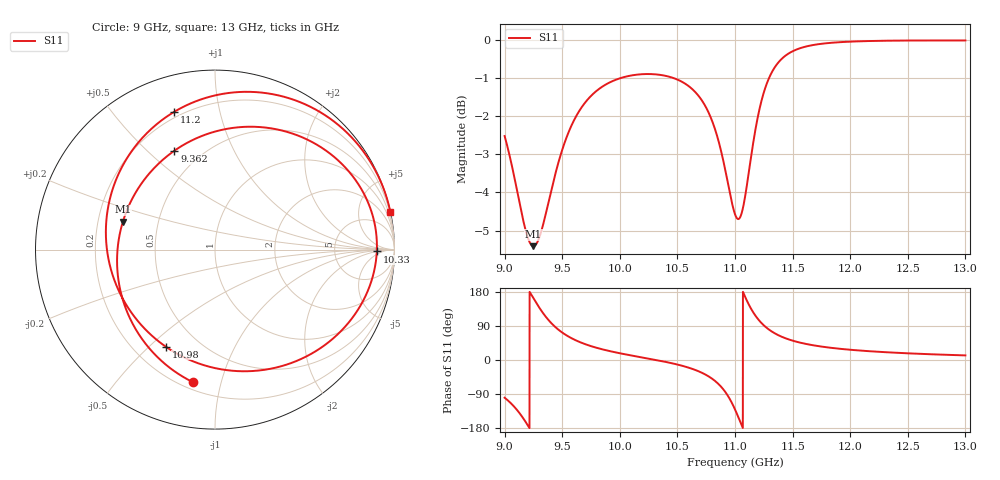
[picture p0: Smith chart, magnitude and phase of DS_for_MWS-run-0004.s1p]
! TOUCHSTONE file generated by CST DESIGN STUDIO
! Date and time: Tue Feb  4 18:08:14 2025
! Project name: C:\Work\MatlabApps\UnitCellOptimizationMatlab\CST\unitcell.cst
! Tree item: Tasks\Sweep1\SPara1\S-Parameters
! Header version: 2024
! Port assignment regex: !\s*Touchstone port\s*([0-9]+)\s*=\s*(CST MWS port|CST DES external port|CST DES block port)\s*(.+)\s* \(\"(.*)\"\)(\s*mode\s*([0-9]+))?.*
! Touchstone port assignment:
! Touchstone port 1 = CST DES external port 1 ("")
# GHz S MA R 50
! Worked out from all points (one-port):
!   4001 points, 9 GHz to 13 GHz, reference 50 ohm
!   lowest |S11| = -5.4 dB at 9.25 GHz (marker M1), VSWR 3.31, Z = 15.4 + j6.73 ohm
!   |S11| at or under -10 dB: nowhere
!   S11 on the Smith chart (normalised r, x): 9 GHz: 0.24, -0.82; 9.362 GHz: 0.36, +0.61; 10.33 GHz: 19, -2; 10.98 GHz: 0.33, -0.56; 11.2 GHz: 0.17, +0.73; 13 GHz: 0.03, +9.42
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9  0.7485 -99.5
9.072  0.6745 -119.5
9.149  0.5916 -148.3
9.25  0.5363 163.1
9.362  0.5955 112.4
9.427  0.6552 90.7
9.5  0.7177 72.5
9.601  0.7842 54.4
9.712  0.8328 40.5
10  0.8912 17.8
10.326  0.9015 -0.7
10.5  0.8878 -12.0
10.661  0.853 -27.0
10.78  0.7978 -45.0
10.9  0.6928 -78.0
10.979  0.6064 -116.9
11  0.5907 -130.4
11.049  0.5874 -165.5
11.093  0.6302 163.2
11.151  0.7217 129.3
11.204  0.8009 106.4
11.264  0.8669 87.7
11.342  0.9198 71.0
11.5  0.9672 51.1
11.702  0.987 37.7
12  0.9958 27.0
12.5  0.9992 17.6
13  0.9994 12.1
